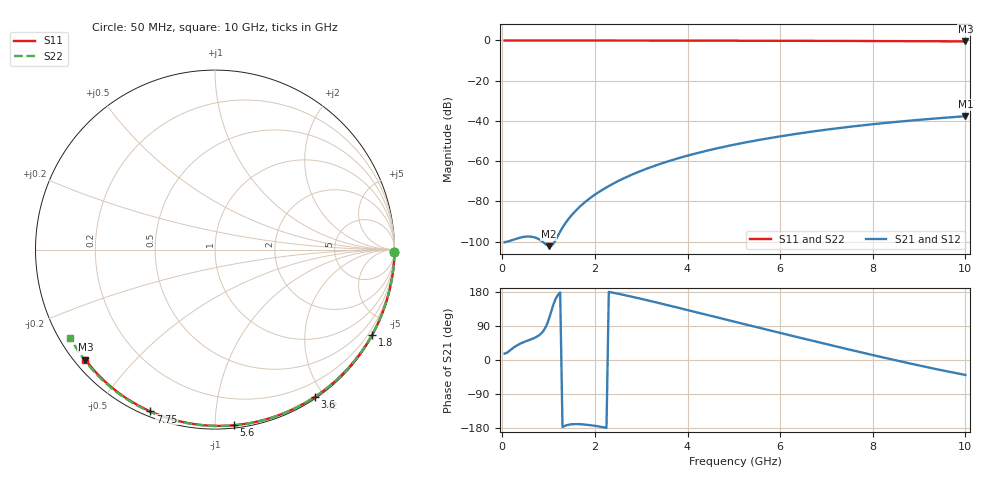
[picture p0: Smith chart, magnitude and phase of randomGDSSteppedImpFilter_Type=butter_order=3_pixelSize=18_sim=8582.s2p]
! freq	dB(S11)	phase(S11)	dB(S12)	phase(S12)
!  dB(S21)	phase(S21)	dB(S22)	phase(S22)
!S-par simulation data
#  GHz  S  DB  R 50
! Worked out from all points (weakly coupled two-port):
!   200 points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, 50 MHz to 10 GHz, reference 50 ohm
!   highest |S21| = -37.62 dB at 10 GHz (marker M1); lowest = -102.2 dB at 1 GHz (marker M2)
!   lowest |S11| = -0.5 dB at 10 GHz (marker M3), VSWR 36.98, Z = 1.53 - j18.3 ohm
!   |S11| at or under -10 dB: nowhere
!   |S22| runs from -0.5 to 0.0 dB; largest |S21 - S12| = 0
!   S11 on the Smith chart (normalised r, x): 50 MHz: open; 1.8 GHz: 0.03, -3.93; 3.6 GHz: 0.02, -1.89; 5.6 GHz: 0.02, -1.11; 7.75 GHz: 0.02, -0.68; 10 GHz: 0.03, -0.37
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0.05  -0.00 -0.8  -100.26 16.8  -100.26 16.8  -0.00 -0.9
0.5  -0.01 -8.1  -97.46 49.0  -97.46 49.0  -0.01 -8.6
1  -0.02 -16.0  -102.20 105.7  -102.20 105.7  -0.02 -17.1
1.75  -0.04 -27.8  -81.02 -170.0  -81.02 -170.0  -0.04 -29.7
1.8  -0.04 -28.6  -80.05 -170.6  -80.05 -170.6  -0.04 -30.6
2  -0.04 -31.7  -76.61 -173.7  -76.61 -173.7  -0.04 -33.9
2.15  -0.04 -34.0  -74.36 -176.8  -74.36 -176.8  -0.05 -36.3
2.5  -0.05 -39.4  -69.88 174.9  -69.88 174.9  -0.05 -42.1
2.9  -0.06 -45.4  -65.68 164.2  -65.68 164.2  -0.06 -48.5
3.4  -0.07 -52.9  -61.39 149.8  -61.39 149.8  -0.08 -56.4
3.6  -0.08 -55.8  -59.90 143.8  -59.90 143.8  -0.08 -59.6
3.9  -0.08 -60.2  -57.86 134.8  -57.86 134.8  -0.09 -64.2
4.3  -0.09 -65.9  -55.43 122.7  -55.43 122.7  -0.10 -70.3
5.05  -0.12 -76.4  -51.58 100.0  -51.58 100.0  -0.13 -81.4
5.6  -0.14 -83.9  -49.20 83.4  -49.20 83.4  -0.15 -89.4
6.15  -0.16 -91.3  -47.10 67.0  -47.10 67.0  -0.17 -97.2
6.7  -0.19 -98.4  -45.24 50.7  -45.24 50.7  -0.20 -104.8
7.2  -0.22 -104.8  -43.73 36.0  -43.73 36.0  -0.24 -111.6
7.75  -0.26 -111.8  -42.24 20.1  -42.24 20.1  -0.28 -119.0
8.35  -0.30 -119.3  -40.80 3.2  -40.80 3.2  -0.33 -126.9
9.2  -0.38 -129.8  -39.05 -19.6  -39.05 -19.6  -0.41 -138.1
10  -0.47 -139.7  -37.62 -39.5  -37.62 -39.5  -0.50 -148.7
